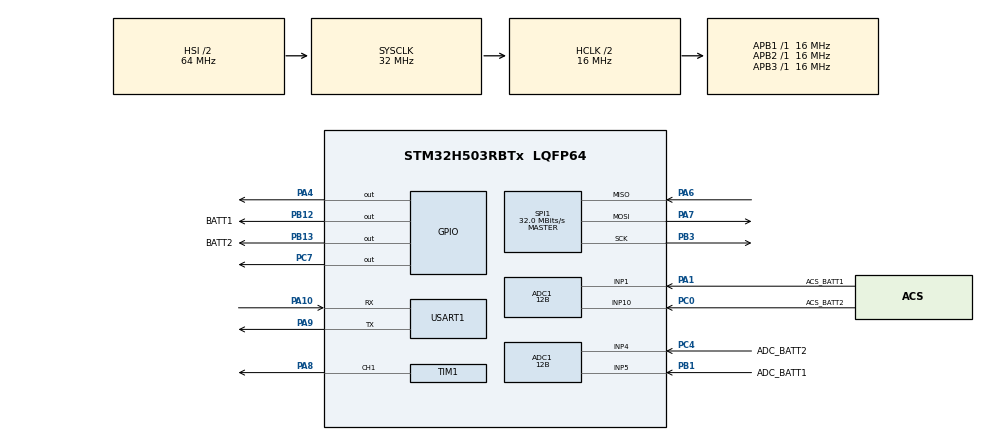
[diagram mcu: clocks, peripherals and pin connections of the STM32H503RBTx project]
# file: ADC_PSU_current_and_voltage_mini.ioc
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ADC1.Channel-0\#ChannelRegularConversion=ADC_CHANNEL_5
ADC1.Channel-1\#ChannelRegularConversion=ADC_CHANNEL_4
ADC1.Channel-2\#ChannelRegularConversion=ADC_CHANNEL_1
ADC1.Channel-3\#ChannelRegularConversion=ADC_CHANNEL_10
ADC1.ClockPrescaler=ADC_CLOCK_ASYNC_DIV4
ADC1.ContinuousConvMode=ENABLE
ADC1.DMAContinuousRequests=ENABLE
ADC1.EOCSelection=ADC_EOC_SEQ_CONV
ADC1.MonitoredBy-0\#ChannelRegularConversion=__NULL
ADC1.MonitoredBy-1\#ChannelRegularConversion=__NULL
ADC1.MonitoredBy-2\#ChannelRegularConversion=__NULL
ADC1.MonitoredBy-3\#ChannelRegularConversion=__NULL
ADC1.NbrOfConversion=4
ADC1.NbrOfConversionFlag=1
ADC1.OffsetNumber-0\#ChannelRegularConversion=ADC_OFFSET_NONE
ADC1.OffsetNumber-1\#ChannelRegularConversion=ADC_OFFSET_NONE
ADC1.OffsetNumber-2\#ChannelRegularConversion=ADC_OFFSET_NONE
ADC1.OffsetNumber-3\#ChannelRegularConversion=ADC_OFFSET_NONE
ADC1.Overrun=ADC_OVR_DATA_OVERWRITTEN
ADC1.OversamplingMode=DISABLE
ADC1.Rank-0\#ChannelRegularConversion=1
ADC1.Rank-1\#ChannelRegularConversion=2
ADC1.Rank-2\#ChannelRegularConversion=3
ADC1.Rank-3\#ChannelRegularConversion=4
ADC1.Resolution=ADC_RESOLUTION_12B
ADC1.SamplingTime-0\#ChannelRegularConversion=ADC_SAMPLETIME_92CYCLES_5
ADC1.SamplingTime-1\#ChannelRegularConversion=ADC_SAMPLETIME_47CYCLES_5
ADC1.SamplingTime-2\#ChannelRegularConversion=ADC_SAMPLETIME_92CYCLES_5
ADC1.SamplingTime-3\#ChannelRegularConversion=ADC_SAMPLETIME_47CYCLES_5
ADC1.master=1
BOOTPATH.BootPathName=LEGACY
BOOTPATH.UserSelectedBootPath=LEGACY
GPDMA1.CIRCULARMODE_GPDMACH0=ENABLE
GPDMA1.DESTDATAWIDTH_GPDMACH0=DMA_DEST_DATAWIDTH_WORD
GPDMA1.DESTINC_GPDMACH0=DMA_DINC_INCREMENTED
GPDMA1.IPHANDLE_GPDMACH0-SIMPLEREQUEST_GPDMACH0=__NULL
GPDMA1.LINKALLOCATEDPORT_CIRCULAR_GPDMACH0=DMA_LINK_ALLOCATED_PORT0
GPDMA1.REQUEST_GPDMACH0=GPDMA1_REQUEST_ADC1
GPDMA1.SRCDATAWIDTH_GPDMACH0=DMA_SRC_DATAWIDTH_WORD
GPDMA1.TRANSFERALLOCATEDPORTDEST_GPDMACH0=DMA_DEST_ALLOCATED_PORT1
GPDMA1.TRIGGERPOLARITY_GPDMACH0=DMA_TRIG_POLARITY_MASKED
Mcu.Family=STM32H5
Mcu.Name=STM32H503RBTx
Mcu.Package=LQFP64
NVIC.GPDMA1_Channel0_IRQn=true\:0\:0\:false\:false\:true\:false\:true\:true
NVIC.PriorityGroup=NVIC_PRIORITYGROUP_4
PA1.GPIO_Label=ACS_BATT1
PA1.Signal=ADCx_INP1
PA10.Mode=Asynchronous
PA10.Signal=USART1_RX
PA4.Signal=GPIO_Output
PA6.Mode=Full_Duplex_Master
PA6.Signal=SPI1_MISO
PA7.Mode=Full_Duplex_Master
PA7.Signal=SPI1_MOSI
PA8.Signal=S_TIM1_CH1
PA9.Mode=Asynchronous
PA9.Signal=USART1_TX
PB1.GPIO_Label=ADC_BATT1
PB1.Signal=ADCx_INP5
PB12.GPIO_Label=BATT1
PB12.Signal=GPIO_Output
PB13.GPIO_Label=BATT2
PB13.Signal=GPIO_Output
PB3(JTDO/TRACESWO).Mode=Full_Duplex_Master
PB3(JTDO/TRACESWO).Signal=SPI1_SCK
PC0.GPIO_Label=ACS_BATT2
PC0.Signal=ADCx_INP10
PC4.GPIO_Label=ADC_BATT2
PC4.Signal=ADCx_INP4
PC7.Signal=GPIO_Output
ProjectManager.HeapSize=0x200
ProjectManager.StackSize=0x400
ProjectManager.TargetToolchain=STM32CubeIDE
RCC.ADCFreq_Value=16000000
RCC.AHBCLKDivider=RCC_SYSCLK_DIV2
RCC.AHBFreq_Value=16000000
RCC.APB1Freq_Value=16000000
RCC.APB1TimFreq_Value=16000000
RCC.APB2Freq_Value=16000000
RCC.APB2TimFreq_Value=16000000
RCC.APB3Freq_Value=16000000
RCC.CSI_VALUE=4000000
RCC.CortexFreq_Value=16000000
RCC.EPOD_VALUE=4000000
RCC.HCLKFreq_Value=16000000
RCC.HSE_VALUE=25000000
RCC.HSI48_VALUE=48000000
RCC.HSI_VALUE=64000000
RCC.LSE_VALUE=32768
RCC.LSIRC_VALUE=32000
RCC.PLLM=2
RCC.PLLN=64
RCC.SYSCLKFreq_VALUE=32000000
RCC.USBFreq_Value=48000000
RCC.VCOOutputFreq_Value=128000000
SH.ADCx_INP1.0=ADC1_INP1,IN1-Single-Ended
SH.ADCx_INP10.0=ADC1_INP10,IN10-Single-Ended
SH.ADCx_INP4.0=ADC1_INP4,IN4-Single-Ended
SH.ADCx_INP5.0=ADC1_INP5,IN5-Single-Ended
SH.S_TIM1_CH1.0=TIM1_CH1,PWM Generation1 CH1
SPI1.CalculateBaudRate=32.0 MBits/s
SPI1.Direction=SPI_DIRECTION_2LINES
SPI1.Mode=SPI_MODE_MASTER
SPI1.VirtualType=VM_MASTER
TIM1.Channel-PWM\ Generation1\ CH1=TIM_CHANNEL_1
TIM1.PeriodNoDither=4095
USART1.VirtualMode-Asynchronous=VM_ASYNC
VP_BOOTPATH_VS_BOOTPATH.Mode=BP_Activate
VP_CORTEX_M33_NS_VS_Hclk.Mode=Hclk_Mode
VP_GPDMA1_VS_GPDMACH0.Mode=SIMPLEREQUEST_GPDMACH0
VP_MEMORYMAP_VS_MEMORYMAP.Mode=CurAppReg
VP_PWR_VS_DBSignals.Mode=DisableDeadBatterySignals
VP_PWR_VS_LPOM.Mode=PowerOptimisation
VP_PWR_VS_SECSignals.Mode=Security/Privilege
VP_TIM1_VS_ClockSourceINT.Mode=Internal
board=custom

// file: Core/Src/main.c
/* USER CODE BEGIN Header */
/**
  ******************************************************************************
  * @file           : main.c
  * @brief          : Main program body
  ******************************************************************************
  * @attention
  *
  * Copyright (c) 2024 STMicroelectronics.
  * All rights reserved.
  *
  * This software is licensed under terms that can be found in the LICENSE file
  * in the root directory of this software component.
  * If no LICENSE file comes with this software, it is provided AS-IS.
  *
  ******************************************************************************
  */
/* USER CODE END Header */
#include "main.h"

/* USER CODE BEGIN Includes */
#include <math.h>
#include <stdio.h>
#include <string.h>
/* USER CODE END Includes */

ADC_HandleTypeDef hadc1;
DMA_NodeTypeDef Node_GPDMA1_Channel0;
DMA_QListTypeDef List_GPDMA1_Channel0;
DMA_HandleTypeDef handle_GPDMA1_Channel0;

SPI_HandleTypeDef hspi1;

TIM_HandleTypeDef htim1;

UART_HandleTypeDef huart1;
/* USER CODE BEGIN PV */
void ReadADC_voltage_current(void);
void write_value(float value, uint32_t address);
void ReadData(uint32_t address, uint32_t length);
void Beep_Beep(void);
/* USER CODE END PV */

void SystemClock_Config(void);
static void MX_GPIO_Init(void);
static void MX_GPDMA1_Init(void);
static void MX_ADC1_Init(void);
static void MX_SPI1_Init(void);
static void MX_TIM1_Init(void);
static void MX_USART1_UART_Init(void);

/* USER CODE BEGIN 0 */
uint32_t NowMillis, SebelumMillis;
float temperature,voltage1,current1,voltage2,current2,konsumsiEnergi;
float read_data_float, write_value_float,arusFiltered;
int before = 0;
uint32_t adcBuffer[4];

void __io_putchar(char ch) {
	HAL_UART_Transmit(&huart1, (uint8_t *)&ch, 1, 10);
}
/* USER CODE END 0 */

int main(void)
{

  /* MCU Configuration--------------------------------------------------------*/

  /* Reset of all peripherals, Initializes the Flash interface and the Systick. */
  HAL_Init();

  /* Configure the system clock */
  SystemClock_Config();

  /* Initialize all configured peripherals */
  MX_GPIO_Init();
  MX_GPDMA1_Init();
  MX_ADC1_Init();
  MX_SPI1_Init();
  MX_TIM1_Init();
  MX_USART1_UART_Init();
  /* USER CODE BEGIN 2 */
  HAL_GPIO_WritePin(GPIOB, GPIO_PIN_12, 1);
  //HAL_GPIO_WritePin(GPIOB, GPIO_PIN_13, 1);
  Beep_Beep();

  uint32_t address = 0x000000;

  for (int i = 0; i < 3; i++) {
	  ReadData(address, sizeof(float));
	  if (!isnan(read_data_float)) {
		  break;
	  }
	  HAL_Delay(50);
  }

  // Start convert ADC using DMA
  if (HAL_ADC_Start_DMA(&hadc1, adcBuffer, 4) != HAL_OK) {
	  Error_Handler();
  }
  /* USER CODE END 2 */

  /* Infinite loop */
  /* USER CODE BEGIN WHILE */
  while (1)
  {
	  //Read Data from Memory W25Q128JV
	  //ReadData(address, sizeof(float));

	  //Read ADC
	  ReadADC_voltage_current();
	  HAL_Delay(100);
    /* USER CODE END WHILE */

  }
}

void SystemClock_Config(void)
{
  RCC_OscInitTypeDef RCC_OscInitStruct = {0};
  RCC_ClkInitTypeDef RCC_ClkInitStruct = {0};

  /** Configure the main internal regulator output voltage
  */
  __HAL_PWR_VOLTAGESCALING_CONFIG(PWR_REGULATOR_VOLTAGE_SCALE3);

  while(!__HAL_PWR_GET_FLAG(PWR_FLAG_VOSRDY)) {}

  /** Initializes the RCC Oscillators according to the specified parameters
  * in the RCC_OscInitTypeDef structure.
  */
  RCC_OscInitStruct.OscillatorType = RCC_OSCILLATORTYPE_HSI|RCC_OSCILLATORTYPE_CSI;
  RCC_OscInitStruct.HSIState = RCC_HSI_ON;
  RCC_OscInitStruct.HSIDiv = RCC_HSI_DIV2;
  RCC_OscInitStruct.HSICalibrationValue = RCC_HSICALIBRATION_DEFAULT;
  RCC_OscInitStruct.CSIState = RCC_CSI_ON;
  RCC_OscInitStruct.CSICalibrationValue = RCC_CSICALIBRATION_DEFAULT;
  RCC_OscInitStruct.PLL.PLLState = RCC_PLL_ON;
  RCC_OscInitStruct.PLL.PLLSource = RCC_PLL1_SOURCE_CSI;
  RCC_OscInitStruct.PLL.PLLM = 2;
  RCC_OscInitStruct.PLL.PLLN = 64;
  RCC_OscInitStruct.PLL.PLLP = 2;
  RCC_OscInitStruct.PLL.PLLQ = 2;
  RCC_OscInitStruct.PLL.PLLR = 2;
  RCC_OscInitStruct.PLL.PLLRGE = RCC_PLL1_VCIRANGE_1;
  RCC_OscInitStruct.PLL.PLLVCOSEL = RCC_PLL1_VCORANGE_WIDE;
  RCC_OscInitStruct.PLL.PLLFRACN = 0;
  if (HAL_RCC_OscConfig(&RCC_OscInitStruct) != HAL_OK)
  {
    Error_Handler();
  }

  /** Initializes the CPU, AHB and APB buses clocks
  */
  RCC_ClkInitStruct.ClockType = RCC_CLOCKTYPE_HCLK|RCC_CLOCKTYPE_SYSCLK
                              |RCC_CLOCKTYPE_PCLK1|RCC_CLOCKTYPE_PCLK2
                              |RCC_CLOCKTYPE_PCLK3;
  RCC_ClkInitStruct.SYSCLKSource = RCC_SYSCLKSOURCE_HSI;
  RCC_ClkInitStruct.AHBCLKDivider = RCC_SYSCLK_DIV2;
  RCC_ClkInitStruct.APB1CLKDivider = RCC_HCLK_DIV1;
  RCC_ClkInitStruct.APB2CLKDivider = RCC_HCLK_DIV1;
  RCC_ClkInitStruct.APB3CLKDivider = RCC_HCLK_DIV1;

  if (HAL_RCC_ClockConfig(&RCC_ClkInitStruct, FLASH_LATENCY_1) != HAL_OK)
  {
    Error_Handler();
  }

  /** Configure the programming delay
  */
  __HAL_FLASH_SET_PROGRAM_DELAY(FLASH_PROGRAMMING_DELAY_0);
}

static void MX_ADC1_Init(void)
{

  ADC_ChannelConfTypeDef sConfig = {0};

  /** Common config
  */
  hadc1.Instance = ADC1;
  hadc1.Init.ClockPrescaler = ADC_CLOCK_ASYNC_DIV4;
  hadc1.Init.Resolution = ADC_RESOLUTION_12B;
  hadc1.Init.DataAlign = ADC_DATAALIGN_RIGHT;
  hadc1.Init.ScanConvMode = ADC_SCAN_ENABLE;
  hadc1.Init.EOCSelection = ADC_EOC_SEQ_CONV;
  hadc1.Init.LowPowerAutoWait = DISABLE;
  hadc1.Init.ContinuousConvMode = ENABLE;
  hadc1.Init.NbrOfConversion = 4;
  hadc1.Init.DiscontinuousConvMode = DISABLE;
  hadc1.Init.ExternalTrigConv = ADC_SOFTWARE_START;
  hadc1.Init.ExternalTrigConvEdge = ADC_EXTERNALTRIGCONVEDGE_NONE;
  hadc1.Init.DMAContinuousRequests = ENABLE;
  hadc1.Init.SamplingMode = ADC_SAMPLING_MODE_NORMAL;
  hadc1.Init.Overrun = ADC_OVR_DATA_OVERWRITTEN;
  hadc1.Init.OversamplingMode = DISABLE;
  if (HAL_ADC_Init(&hadc1) != HAL_OK)
  {
    Error_Handler();
  }

  /** Configure Regular Channel
  */
  sConfig.Channel = ADC_CHANNEL_5;
  sConfig.Rank = ADC_REGULAR_RANK_1;
  sConfig.SamplingTime = ADC_SAMPLETIME_92CYCLES_5;
  sConfig.SingleDiff = ADC_SINGLE_ENDED;
  sConfig.OffsetNumber = ADC_OFFSET_NONE;
  sConfig.Offset = 0;
  if (HAL_ADC_ConfigChannel(&hadc1, &sConfig) != HAL_OK)
  {
    Error_Handler();
  }

  /** Configure Regular Channel
  */
  sConfig.Channel = ADC_CHANNEL_4;
  sConfig.Rank = ADC_REGULAR_RANK_2;
  sConfig.SamplingTime = ADC_SAMPLETIME_47CYCLES_5;
  if (HAL_ADC_ConfigChannel(&hadc1, &sConfig) != HAL_OK)
  {
    Error_Handler();
  }

  /** Configure Regular Channel
  */
  sConfig.Channel = ADC_CHANNEL_1;
  sConfig.Rank = ADC_REGULAR_RANK_3;
  sConfig.SamplingTime = ADC_SAMPLETIME_92CYCLES_5;
  if (HAL_ADC_ConfigChannel(&hadc1, &sConfig) != HAL_OK)
  {
    Error_Handler();
  }

  /** Configure Regular Channel
  */
  sConfig.Channel = ADC_CHANNEL_10;
  sConfig.Rank = ADC_REGULAR_RANK_4;
  sConfig.SamplingTime = ADC_SAMPLETIME_47CYCLES_5;
  if (HAL_ADC_ConfigChannel(&hadc1, &sConfig) != HAL_OK)
  {
    Error_Handler();
  }

}

static void MX_GPDMA1_Init(void)
{

  /* Peripheral clock enable */
  __HAL_RCC_GPDMA1_CLK_ENABLE();

  /* GPDMA1 interrupt Init */
    HAL_NVIC_SetPriority(GPDMA1_Channel0_IRQn, 0, 0);
    HAL_NVIC_EnableIRQ(GPDMA1_Channel0_IRQn);

}

static void MX_SPI1_Init(void)
{

  /* SPI1 parameter configuration*/
  hspi1.Instance = SPI1;
  hspi1.Init.Mode = SPI_MODE_MASTER;
  hspi1.Init.Direction = SPI_DIRECTION_2LINES;
  hspi1.Init.DataSize = SPI_DATASIZE_4BIT;
  hspi1.Init.CLKPolarity = SPI_POLARITY_LOW;
  hspi1.Init.CLKPhase = SPI_PHASE_1EDGE;
  hspi1.Init.NSS = SPI_NSS_SOFT;
  hspi1.Init.BaudRatePrescaler = SPI_BAUDRATEPRESCALER_2;
  hspi1.Init.FirstBit = SPI_FIRSTBIT_MSB;
  hspi1.Init.TIMode = SPI_TIMODE_DISABLE;
  hspi1.Init.CRCCalculation = SPI_CRCCALCULATION_DISABLE;
  hspi1.Init.CRCPolynomial = 0x7;
  hspi1.Init.NSSPMode = SPI_NSS_PULSE_ENABLE;
  hspi1.Init.NSSPolarity = SPI_NSS_POLARITY_LOW;
  hspi1.Init.FifoThreshold = SPI_FIFO_THRESHOLD_01DATA;
  hspi1.Init.MasterSSIdleness = SPI_MASTER_SS_IDLENESS_00CYCLE;
  hspi1.Init.MasterInterDataIdleness = SPI_MASTER_INTERDATA_IDLENESS_00CYCLE;
  hspi1.Init.MasterReceiverAutoSusp = SPI_MASTER_RX_AUTOSUSP_DISABLE;
  hspi1.Init.MasterKeepIOState = SPI_MASTER_KEEP_IO_STATE_DISABLE;
  hspi1.Init.IOSwap = SPI_IO_SWAP_DISABLE;
  hspi1.Init.ReadyMasterManagement = SPI_RDY_MASTER_MANAGEMENT_INTERNALLY;
  hspi1.Init.ReadyPolarity = SPI_RDY_POLARITY_HIGH;
  if (HAL_SPI_Init(&hspi1) != HAL_OK)
  {
    Error_Handler();
  }

}

static void MX_TIM1_Init(void)
{

  TIM_ClockConfigTypeDef sClockSourceConfig = {0};
  TIM_MasterConfigTypeDef sMasterConfig = {0};
  TIM_OC_InitTypeDef sConfigOC = {0};
  TIM_BreakDeadTimeConfigTypeDef sBreakDeadTimeConfig = {0};

  htim1.Instance = TIM1;
  htim1.Init.Prescaler = 0;
  htim1.Init.CounterMode = TIM_COUNTERMODE_UP;
  htim1.Init.Period = 4095;
  htim1.Init.ClockDivision = TIM_CLOCKDIVISION_DIV1;
  htim1.Init.RepetitionCounter = 0;
  htim1.Init.AutoReloadPreload = TIM_AUTORELOAD_PRELOAD_DISABLE;
  if (HAL_TIM_Base_Init(&htim1) != HAL_OK)
  {
    Error_Handler();
  }
  sClockSourceConfig.ClockSource = TIM_CLOCKSOURCE_INTERNAL;
  if (HAL_TIM_ConfigClockSource(&htim1, &sClockSourceConfig) != HAL_OK)
  {
    Error_Handler();
  }
  if (HAL_TIM_PWM_Init(&htim1) != HAL_OK)
  {
    Error_Handler();
  }
  sMasterConfig.MasterOutputTrigger = TIM_TRGO_RESET;
  sMasterConfig.MasterOutputTrigger2 = TIM_TRGO2_RESET;
  sMasterConfig.MasterSlaveMode = TIM_MASTERSLAVEMODE_DISABLE;
  if (HAL_TIMEx_MasterConfigSynchronization(&htim1, &sMasterConfig) != HAL_OK)
  {
    Error_Handler();
  }
  sConfigOC.OCMode = TIM_OCMODE_PWM1;
  sConfigOC.Pulse = 0;
  sConfigOC.OCPolarity = TIM_OCPOLARITY_HIGH;
  sConfigOC.OCNPolarity = TIM_OCNPOLARITY_HIGH;
  sConfigOC.OCFastMode = TIM_OCFAST_DISABLE;
  sConfigOC.OCIdleState = TIM_OCIDLESTATE_RESET;
  sConfigOC.OCNIdleState = TIM_OCNIDLESTATE_RESET;
  if (HAL_TIM_PWM_ConfigChannel(&htim1, &sConfigOC, TIM_CHANNEL_1) != HAL_OK)
  {
    Error_Handler();
  }
  sBreakDeadTimeConfig.OffStateRunMode = TIM_OSSR_DISABLE;
  sBreakDeadTimeConfig.OffStateIDLEMode = TIM_OSSI_DISABLE;
  sBreakDeadTimeConfig.LockLevel = TIM_LOCKLEVEL_OFF;
  sBreakDeadTimeConfig.DeadTime = 0;
  sBreakDeadTimeConfig.BreakState = TIM_BREAK_DISABLE;
  sBreakDeadTimeConfig.BreakPolarity = TIM_BREAKPOLARITY_HIGH;
  sBreakDeadTimeConfig.BreakFilter = 0;
  sBreakDeadTimeConfig.BreakAFMode = TIM_BREAK_AFMODE_INPUT;
  sBreakDeadTimeConfig.Break2State = TIM_BREAK2_DISABLE;
  sBreakDeadTimeConfig.Break2Polarity = TIM_BREAK2POLARITY_HIGH;
  sBreakDeadTimeConfig.Break2Filter = 0;
  sBreakDeadTimeConfig.Break2AFMode = TIM_BREAK_AFMODE_INPUT;
  sBreakDeadTimeConfig.AutomaticOutput = TIM_AUTOMATICOUTPUT_DISABLE;
  if (HAL_TIMEx_ConfigBreakDeadTime(&htim1, &sBreakDeadTimeConfig) != HAL_OK)
  {
    Error_Handler();
  }
  HAL_TIM_MspPostInit(&htim1);

}

static void MX_USART1_UART_Init(void)
{

  huart1.Instance = USART1;
  huart1.Init.BaudRate = 115200;
  huart1.Init.WordLength = UART_WORDLENGTH_8B;
  huart1.Init.StopBits = UART_STOPBITS_1;
  huart1.Init.Parity = UART_PARITY_NONE;
  huart1.Init.Mode = UART_MODE_TX_RX;
  huart1.Init.HwFlowCtl = UART_HWCONTROL_NONE;
  huart1.Init.OverSampling = UART_OVERSAMPLING_16;
  huart1.Init.OneBitSampling = UART_ONE_BIT_SAMPLE_DISABLE;
  huart1.Init.ClockPrescaler = UART_PRESCALER_DIV1;
  huart1.AdvancedInit.AdvFeatureInit = UART_ADVFEATURE_NO_INIT;
  if (HAL_UART_Init(&huart1) != HAL_OK)
  {
    Error_Handler();
  }
  if (HAL_UARTEx_SetTxFifoThreshold(&huart1, UART_TXFIFO_THRESHOLD_1_8) != HAL_OK)
  {
    Error_Handler();
  }
  if (HAL_UARTEx_SetRxFifoThreshold(&huart1, UART_RXFIFO_THRESHOLD_1_8) != HAL_OK)
  {
    Error_Handler();
  }
  if (HAL_UARTEx_DisableFifoMode(&huart1) != HAL_OK)
  {
    Error_Handler();
  }

}

static void MX_GPIO_Init(void)
{
  GPIO_InitTypeDef GPIO_InitStruct = {0};

  /* GPIO Ports Clock Enable */
  __HAL_RCC_GPIOC_CLK_ENABLE();
  __HAL_RCC_GPIOA_CLK_ENABLE();
  __HAL_RCC_GPIOB_CLK_ENABLE();

  /*Configure GPIO pin Output Level */
  HAL_GPIO_WritePin(GPIOA, GPIO_PIN_4, GPIO_PIN_RESET);

  /*Configure GPIO pin Output Level */
  HAL_GPIO_WritePin(GPIOB, BATT1_Pin|BATT2_Pin, GPIO_PIN_RESET);

  /*Configure GPIO pin Output Level */
  HAL_GPIO_WritePin(GPIOC, GPIO_PIN_7, GPIO_PIN_RESET);

  /*Configure GPIO pin : PA4 */
  GPIO_InitStruct.Pin = GPIO_PIN_4;
  GPIO_InitStruct.Mode = GPIO_MODE_OUTPUT_PP;
  GPIO_InitStruct.Pull = GPIO_NOPULL;
  GPIO_InitStruct.Speed = GPIO_SPEED_FREQ_LOW;
  HAL_GPIO_Init(GPIOA, &GPIO_InitStruct);

  /*Configure GPIO pins : BATT1_Pin BATT2_Pin */
  GPIO_InitStruct.Pin = BATT1_Pin|BATT2_Pin;
  GPIO_InitStruct.Mode = GPIO_MODE_OUTPUT_PP;
  GPIO_InitStruct.Pull = GPIO_NOPULL;
  GPIO_InitStruct.Speed = GPIO_SPEED_FREQ_LOW;
  HAL_GPIO_Init(GPIOB, &GPIO_InitStruct);

  /*Configure GPIO pin : PC7 */
  GPIO_InitStruct.Pin = GPIO_PIN_7;
  GPIO_InitStruct.Mode = GPIO_MODE_OUTPUT_PP;
  GPIO_InitStruct.Pull = GPIO_NOPULL;
  GPIO_InitStruct.Speed = GPIO_SPEED_FREQ_LOW;
  HAL_GPIO_Init(GPIOC, &GPIO_InitStruct);

}

/* USER CODE BEGIN 4 */

void HAL_ADC_ConvCpltCallback(ADC_HandleTypeDef* hadc) {
	if (hadc->Instance == ADC1) {
		//ReadADC_voltage_current();
	}
}

// Function to process ADC data into Voltage and Current values
void ReadADC_voltage_current(void){
	uint32_t sumADC_voltage1 = 0, sumADC_current1 = 0,sumADC_voltage2 = 0, sumADC_current2 = 0;
	uint16_t value_voltage1, value_current1, value_voltage2, value_current2;
	float voltage_current1,voltage_current2;

	for (int i = 0; i < 500; i++) {
		sumADC_voltage1 += adcBuffer[0];
		sumADC_voltage2 += adcBuffer[1];
		sumADC_current1 += adcBuffer[2];
		sumADC_current2 += adcBuffer[3];
	}

	value_voltage1 = ((sumADC_voltage1 / 500) - 60) * 3882 / (3942 - 60);
	value_current1 = ((sumADC_current1 / 500) - 60) * 4035 / (4095 - 60);
	value_voltage2 = ((sumADC_voltage2 / 500) - 59) * 3886 / (3994 - 59);
	value_current2 = ((sumADC_current2 / 500) - 57) * 4038 / (4095 - 57);

	voltage1 = (value_voltage1 * 14.6) / 3882;
	voltage_current1 = (value_current1 * 3.31) / 4095;
	current1 = fabs((voltage_current1 - 2.5) / 0.097);

	voltage2 = (value_voltage2 * 14.6) / 3836;
	voltage_current2 = (value_current2 * 3.31) / 4095;
	current2 = fabs((voltage_current2 - 2.5) / 0.098);

	//Konsumsi Arus Algoritma
	NowMillis = HAL_GetTick();
	if (NowMillis - SebelumMillis >= 1000){
		arusFiltered = 0.2 * current1 + 0.8 * arusFiltered;
		konsumsiEnergi += (arusFiltered / 3600);
		SebelumMillis = NowMillis;
	}
	printf("Voltage1 : %.2f |", voltage1);
	printf("current1 : %.4f |", current1);
	printf("Voltage2 : %.2f |", voltage2);
	printf("current2 : %.4f \n", current2);

	printf("Raw data : %d |", value_current1);
	printf("Rawr data : %.4f |", voltage_current2);
//	printf("voltage_current1 : %.2f |", voltage_current1);
//	printf("current1 : %.2f \n", current1);

//	printf("Raw data voltage1: %d |", value_voltage1);
//	printf("Raw data currene1: %d |", value_current1);
//	printf("Raw data voltage2: %d |", value_voltage2);
//	printf("Raw data currene2: %d \n", value_current2);
}

// Function to erase and write values to flash memory
void write_value(float value, uint32_t address) {
	uint8_t write_enable_cmd = 0x06;
    uint8_t data[sizeof(value)];
    memcpy(data, &value, sizeof(value));

    // Perintah Erase Sector (4 KB)
    uint8_t erase_cmd[4];
    erase_cmd[0] = 0x20;
    erase_cmd[1] = (address >> 16) & 0xFF;
    erase_cmd[2] = (address >> 8) & 0xFF;
    erase_cmd[3] = address & 0xFF;

    // Perintah Write Enable
    HAL_GPIO_WritePin(GPIOA, GPIO_PIN_4, GPIO_PIN_RESET);
    HAL_SPI_Transmit(&hspi1, &write_enable_cmd, 1, HAL_MAX_DELAY);
    HAL_GPIO_WritePin(GPIOA, GPIO_PIN_4, GPIO_PIN_SET);

    HAL_GPIO_WritePin(GPIOA, GPIO_PIN_4, GPIO_PIN_RESET);
    HAL_SPI_Transmit(&hspi1, erase_cmd, 4, HAL_MAX_DELAY);
    HAL_GPIO_WritePin(GPIOA, GPIO_PIN_4, GPIO_PIN_SET);
    HAL_Delay(100);

    // command Write Data
    uint8_t write_cmd[4];
    write_cmd[0] = 0x02;
    write_cmd[1] = (address >> 16) & 0xFF;
    write_cmd[2] = (address >> 8) & 0xFF;
    write_cmd[3] = address & 0xFF;

    // Perintah Write Enable
    HAL_GPIO_WritePin(GPIOA, GPIO_PIN_4, GPIO_PIN_RESET);
    HAL_SPI_Transmit(&hspi1, &write_enable_cmd, 1, HAL_MAX_DELAY);
    HAL_GPIO_WritePin(GPIOA, GPIO_PIN_4, GPIO_PIN_SET);

    HAL_GPIO_WritePin(GPIOA, GPIO_PIN_4, GPIO_PIN_RESET);
    HAL_SPI_Transmit(&hspi1, write_cmd, 4, HAL_MAX_DELAY);
    HAL_SPI_Transmit(&hspi1, data, sizeof(data), HAL_MAX_DELAY);
    HAL_GPIO_WritePin(GPIOA, GPIO_PIN_4, GPIO_PIN_SET);
    HAL_Delay(50);
}

//Function to read data from flash memory
void ReadData(uint32_t address, uint32_t length) {
    uint8_t cmd[4];
    cmd[0] = 0x03;
    cmd[1] = (address >> 16) & 0xFF;
    cmd[2] = (address >> 8) & 0xFF;
    cmd[3] = address & 0xFF;

    uint8_t data[length];
    HAL_GPIO_WritePin(GPIOA, GPIO_PIN_4, GPIO_PIN_RESET);
    HAL_SPI_Transmit(&hspi1, cmd, 4, HAL_MAX_DELAY);
    HAL_SPI_Receive(&hspi1, data, length, HAL_MAX_DELAY);
    HAL_GPIO_WritePin(GPIOA, GPIO_PIN_4, GPIO_PIN_SET);

    memcpy(&read_data_float, data, sizeof(read_data_float));
}

//Function to produce a beep sound on the buzzer
void Beep_Beep(void) {
	HAL_TIM_PWM_Start(&htim1, TIM_CHANNEL_1);
	for (int i = 0; i < 2; i++) {
		HAL_TIM_PWM_Start(&htim1, TIM_CHANNEL_1);
		__HAL_TIM_SET_COMPARE(&htim1, TIM_CHANNEL_1, 3000);
		HAL_Delay(100);
		__HAL_TIM_SET_COMPARE(&htim1, TIM_CHANNEL_1, 0);
		HAL_Delay(50);
		__HAL_TIM_SET_COMPARE(&htim1, TIM_CHANNEL_1, 3000);
		HAL_Delay(50);
		__HAL_TIM_SET_COMPARE(&htim1, TIM_CHANNEL_1, 0);
		HAL_Delay(50);
	}
}
/* USER CODE END 4 */

void Error_Handler(void)
{
  __disable_irq();
  while (1)
  {
  }
}
